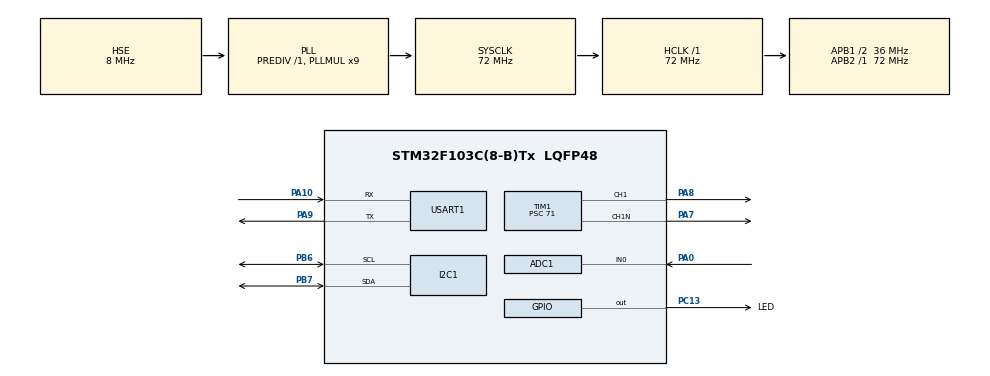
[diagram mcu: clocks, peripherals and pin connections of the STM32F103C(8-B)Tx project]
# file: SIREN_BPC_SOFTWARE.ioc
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ADC1.Channel-0\#ChannelRegularConversion=ADC_CHANNEL_0
ADC1.NbrOfConversionFlag=1
ADC1.Rank-0\#ChannelRegularConversion=1
ADC1.SamplingTime-0\#ChannelRegularConversion=ADC_SAMPLETIME_239CYCLES_5
ADC1.master=1
Mcu.Family=STM32F1
Mcu.Name=STM32F103C(8-B)Tx
Mcu.Package=LQFP48
NVIC.PriorityGroup=NVIC_PRIORITYGROUP_4
PA0-WKUP.Signal=ADCx_IN0
PA10.Mode=Asynchronous
PA10.Signal=USART1_RX
PA13.Mode=Serial_Wire
PA13.Signal=SYS_JTMS-SWDIO
PA14.Mode=Serial_Wire
PA14.Signal=SYS_JTCK-SWCLK
PA7.Mode=Output Compare1 CH1 CH1N
PA7.Signal=TIM1_CH1N
PA8.Signal=S_TIM1_CH1
PA9.Mode=Asynchronous
PA9.Signal=USART1_TX
PB6.Mode=I2C
PB6.Signal=I2C1_SCL
PB7.Mode=I2C
PB7.Signal=I2C1_SDA
PC13-TAMPER-RTC.GPIO_Label=LED
PC13-TAMPER-RTC.Signal=GPIO_Output
PD0-OSC_IN.Mode=HSE-External-Oscillator
PD0-OSC_IN.Signal=RCC_OSC_IN
PD1-OSC_OUT.Mode=HSE-External-Oscillator
PD1-OSC_OUT.Signal=RCC_OSC_OUT
ProjectManager.HeapSize=0x200
ProjectManager.StackSize=0x400
ProjectManager.TargetToolchain=STM32CubeIDE
RCC.ADCPresc=RCC_ADCPCLK2_DIV6
RCC.AHBFreq_Value=72000000
RCC.APB1CLKDivider=RCC_HCLK_DIV2
RCC.APB1Freq_Value=36000000
RCC.APB1TimFreq_Value=72000000
RCC.APB2Freq_Value=72000000
RCC.APB2TimFreq_Value=72000000
RCC.HCLKFreq_Value=72000000
RCC.PLLMUL=RCC_PLL_MUL9
RCC.PLLSourceVirtual=RCC_PLLSOURCE_HSE
RCC.SYSCLKFreq_VALUE=72000000
RCC.SYSCLKSource=RCC_SYSCLKSOURCE_PLLCLK
RCC.USBFreq_Value=72000000
SH.ADCx_IN0.0=ADC1_IN0,IN0
SH.S_TIM1_CH1.0=TIM1_CH1,Output Compare1 CH1 CH1N
TIM1.Channel-Output\ Compare1\ CH1\ CH1N=TIM_CHANNEL_1
TIM1.DeadTime=14
TIM1.Period=999
TIM1.Prescaler=71
TIM1.Pulse-Output\ Compare1\ CH1\ CH1N=499
USART1.VirtualMode=VM_ASYNC
VP_TIM1_VS_ClockSourceINT.Mode=Internal
board=custom

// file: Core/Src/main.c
/* USER CODE BEGIN Header */
/**
  ******************************************************************************
  * @file           : main.c
  * @brief          : Main program body
  ******************************************************************************
  * @attention
  *
  * Copyright (c) 2026 STMicroelectronics.
  * All rights reserved.
  *
  * This software is licensed under terms that can be found in the LICENSE file
  * in the root directory of this software component.
  * If no LICENSE file comes with this software, it is provided AS-IS.
  *
  ******************************************************************************
  */
/* USER CODE END Header */
#include "main.h"
#include "adc.h"
#include "i2c.h"
#include "tim.h"
#include "usart.h"
#include "gpio.h"

/* USER CODE BEGIN Includes */
#include <math.h>
#include <string.h>
#include <stdio.h>
#include <stdlib.h>
/* USER CODE END Includes */

/* USER CODE BEGIN PTD */
typedef enum {
    STATE_IDLE    = 0,
    STATE_HEATING = 1,
    STATE_FAULT   = 2
} SystemState_t;

/* USER CODE END PTD */

/* USER CODE BEGIN PD */
#define TEMP_START_HEATING_C    (-10.0f)
#define TEMP_STOP_HEATING_C     (0.0f)
#define TEMP_FAULT_C            (45.0f)
#define CURRENT_FAULT_MA        (2000.0f)
#define VOLTAGE_CUTOFF_MV       (3000.0f)
#define NTC_R_FIXED             (10000.0f)
#define NTC_R25                 (10000.0f)
#define NTC_B                   (3900.0f)
#define NTC_T25_K               (298.15f)
#define ADC_VREF                (3.3f)
#define ADC_RESOLUTION          (4095.0f)
#define INA219_ADDR             (0x40 << 1)
#define INA219_REG_CONFIG       (0x00)
#define INA219_REG_SHUNT_V      (0x01)
#define INA219_REG_BUS_V        (0x02)
#define INA219_REG_CURRENT      (0x04)
#define INA219_REG_CALIBRATION  (0x05)
#define INA219_CONFIG_VALUE     (0x399F)
#define INA219_CAL_VALUE        (4096)
#define INA219_CURRENT_LSB_MA   (0.1f)
#define MONITOR_INTERVAL_MS     (1000)
/* USER CODE END PD */

/* USER CODE BEGIN PV */
SystemState_t g_state         = STATE_IDLE;
float         g_temperature_c = 0.0f;
float         g_current_ma    = 0.0f;
float         g_voltage_mv    = 0.0f;
uint32_t      g_last_monitor  = 0;
char          g_tx_buf[128];
/* USER CODE END PV */

void SystemClock_Config(void);
/* USER CODE BEGIN PFP */
void BPC_Start(void);
void BPC_Stop(void);
HAL_StatusTypeDef INA219_Init(void);
HAL_StatusTypeDef INA219_WriteReg(uint8_t reg, uint16_t value);
HAL_StatusTypeDef INA219_ReadReg(uint8_t reg, uint16_t *value);
float INA219_ReadCurrent_mA(void);
float INA219_ReadBusVoltage_mV(void);
float ADC_ReadTemperature_C(void);
void StateMachine_Update(void);
void Data_Transmit(void);
/* USER CODE END PFP */

/* USER CODE BEGIN 0 */
void BPC_Start(void)
{
    HAL_TIM_PWM_Start(&htim1, TIM_CHANNEL_1);
    HAL_TIMEx_PWMN_Start(&htim1, TIM_CHANNEL_1);
}

void BPC_Stop(void)
{
    HAL_TIM_PWM_Stop(&htim1, TIM_CHANNEL_1);
    HAL_TIMEx_PWMN_Stop(&htim1, TIM_CHANNEL_1);
}

HAL_StatusTypeDef INA219_WriteReg(uint8_t reg, uint16_t value)
{
    uint8_t buf[3];
    buf[0] = reg;
    buf[1] = (value >> 8) & 0xFF;
    buf[2] =  value       & 0xFF;
    return HAL_I2C_Master_Transmit(&hi2c1, INA219_ADDR, buf, 3, 100);
}

HAL_StatusTypeDef INA219_ReadReg(uint8_t reg, uint16_t *value)
{
    uint8_t buf[2];
    HAL_StatusTypeDef ret;
    ret = HAL_I2C_Master_Transmit(&hi2c1, INA219_ADDR, &reg, 1, 100);
    if (ret != HAL_OK) return ret;
    ret = HAL_I2C_Master_Receive(&hi2c1, INA219_ADDR, buf, 2, 100);
    if (ret != HAL_OK) return ret;
    *value = ((uint16_t)buf[0] << 8) | buf[1];
    return HAL_OK;
}

HAL_StatusTypeDef INA219_Init(void)
{
    HAL_StatusTypeDef ret;
    ret = INA219_WriteReg(INA219_REG_CALIBRATION, INA219_CAL_VALUE);
    if (ret != HAL_OK) return ret;
    return INA219_WriteReg(INA219_REG_CONFIG, INA219_CONFIG_VALUE);
}

float INA219_ReadCurrent_mA(void)
{
    uint16_t raw = 0;
    if (INA219_ReadReg(INA219_REG_CURRENT, &raw) != HAL_OK) return 0.0f;
    return (float)((int16_t)raw) * INA219_CURRENT_LSB_MA;
}

float INA219_ReadBusVoltage_mV(void)
{
    uint16_t raw = 0;
    if (INA219_ReadReg(INA219_REG_BUS_V, &raw) != HAL_OK) return 0.0f;
    return (float)(raw >> 3) * 4.0f;
}

float ADC_ReadTemperature_C(void)
{
    HAL_ADC_Start(&hadc1);
    HAL_ADC_PollForConversion(&hadc1, 10);
    uint32_t raw = HAL_ADC_GetValue(&hadc1);
    HAL_ADC_Stop(&hadc1);
    float vadc = ((float)raw / ADC_RESOLUTION) * ADC_VREF;
    if (vadc <= 0.01f || vadc >= (ADC_VREF - 0.01f)) return -99.0f;
    float r_ntc = NTC_R_FIXED * vadc / (ADC_VREF - vadc);
    float inv_T = (1.0f / NTC_T25_K) + (1.0f / NTC_B) * logf(r_ntc / NTC_R25);
    return (1.0f / inv_T) - 273.15f;
}

void StateMachine_Update(void)
{
    switch (g_state)
    {
        case STATE_IDLE:
            if (g_temperature_c < TEMP_START_HEATING_C &&
                g_voltage_mv    > VOLTAGE_CUTOFF_MV)
            {
                BPC_Start();
                g_state = STATE_HEATING;
                HAL_GPIO_WritePin(LED_GPIO_Port, LED_Pin, GPIO_PIN_RESET);
            }
            break;

        case STATE_HEATING:
            if (g_temperature_c >= TEMP_STOP_HEATING_C) {
                BPC_Stop();
                g_state = STATE_IDLE;
                HAL_GPIO_WritePin(LED_GPIO_Port, LED_Pin, GPIO_PIN_SET);
            }
            else if (g_current_ma > CURRENT_FAULT_MA) {
                BPC_Stop();
                g_state = STATE_FAULT;
                HAL_UART_Transmit(&huart1, (uint8_t*)"FAULT:OVERCURRENT\r\n", 19, 100);
            }
            else if (g_temperature_c > TEMP_FAULT_C) {
                BPC_Stop();
                g_state = STATE_FAULT;
                HAL_UART_Transmit(&huart1, (uint8_t*)"FAULT:OVERTEMP\r\n", 16, 100);
            }
            else if (g_voltage_mv < VOLTAGE_CUTOFF_MV) {
                BPC_Stop();
                g_state = STATE_IDLE;
                HAL_UART_Transmit(&huart1, (uint8_t*)"INFO:UNDERVOLTAGE\r\n", 19, 100);
            }
            break;

        case STATE_FAULT:
            BPC_Stop();
            HAL_GPIO_TogglePin(LED_GPIO_Port, LED_Pin);
            break;

        default:
            g_state = STATE_FAULT;
            break;
    }
}

void Data_Transmit(void)
{
    const char *state_str;
    switch (g_state) {
        case STATE_IDLE:    state_str = "IDLE";    break;
        case STATE_HEATING: state_str = "HEATING"; break;
        case STATE_FAULT:   state_str = "FAULT";   break;
        default:            state_str = "UNKNOWN"; break;
    }

    int temp_int  = (int)(g_temperature_c * 10);
    int curr_int  = (int)(g_current_ma * 10);
    int volt_int  = (int)(g_voltage_mv * 10);

    int len = snprintf(g_tx_buf, sizeof(g_tx_buf),
        "%s,%d.%d,%d.%d,%d.%d\r\n",
        state_str,
        temp_int / 10, abs(temp_int % 10),
        curr_int / 10, abs(curr_int % 10),
        volt_int / 10, abs(volt_int % 10));
    HAL_UART_Transmit(&huart1, (uint8_t*)g_tx_buf, (uint16_t)len, 200);
}
/* USER CODE END 0 */

int main(void)
{

  /* MCU Configuration--------------------------------------------------------*/

  /* Reset of all peripherals, Initializes the Flash interface and the Systick. */
  HAL_Init();

  /* Configure the system clock */
  SystemClock_Config();

  /* Initialize all configured peripherals */
  MX_GPIO_Init();
  MX_ADC1_Init();
  MX_I2C1_Init();
  MX_TIM1_Init();
  MX_USART1_UART_Init();
  /* USER CODE BEGIN 2 */
  BPC_Stop();
  if (INA219_Init() != HAL_OK) {
      g_state = STATE_FAULT;
  }
  HAL_UART_Transmit(&huart1, (uint8_t*)"SIREN BPC Ready\r\n", 17, 100);
  g_last_monitor = HAL_GetTick();
  /* USER CODE END 2 */

  /* Infinite loop */
  /* USER CODE BEGIN WHILE */
  while (1)
  {
      uint32_t now = HAL_GetTick();
      if ((now - g_last_monitor) >= MONITOR_INTERVAL_MS)
      {
          g_last_monitor    = now;
          g_temperature_c   = ADC_ReadTemperature_C();
          g_current_ma      = INA219_ReadCurrent_mA();
          g_voltage_mv      = INA219_ReadBusVoltage_mV();
          StateMachine_Update();
          Data_Transmit();
      }
    /* USER CODE END WHILE */

  }
}

void SystemClock_Config(void)
{
  RCC_OscInitTypeDef RCC_OscInitStruct = {0};
  RCC_ClkInitTypeDef RCC_ClkInitStruct = {0};
  RCC_PeriphCLKInitTypeDef PeriphClkInit = {0};

  /** Initializes the RCC Oscillators according to the specified parameters
  * in the RCC_OscInitTypeDef structure.
  */
  RCC_OscInitStruct.OscillatorType = RCC_OSCILLATORTYPE_HSE;
  RCC_OscInitStruct.HSEState = RCC_HSE_ON;
  RCC_OscInitStruct.HSEPredivValue = RCC_HSE_PREDIV_DIV1;
  RCC_OscInitStruct.HSIState = RCC_HSI_ON;
  RCC_OscInitStruct.PLL.PLLState = RCC_PLL_ON;
  RCC_OscInitStruct.PLL.PLLSource = RCC_PLLSOURCE_HSE;
  RCC_OscInitStruct.PLL.PLLMUL = RCC_PLL_MUL9;
  if (HAL_RCC_OscConfig(&RCC_OscInitStruct) != HAL_OK)
  {
    Error_Handler();
  }

  /** Initializes the CPU, AHB and APB buses clocks
  */
  RCC_ClkInitStruct.ClockType = RCC_CLOCKTYPE_HCLK|RCC_CLOCKTYPE_SYSCLK
                              |RCC_CLOCKTYPE_PCLK1|RCC_CLOCKTYPE_PCLK2;
  RCC_ClkInitStruct.SYSCLKSource = RCC_SYSCLKSOURCE_PLLCLK;
  RCC_ClkInitStruct.AHBCLKDivider = RCC_SYSCLK_DIV1;
  RCC_ClkInitStruct.APB1CLKDivider = RCC_HCLK_DIV2;
  RCC_ClkInitStruct.APB2CLKDivider = RCC_HCLK_DIV1;

  if (HAL_RCC_ClockConfig(&RCC_ClkInitStruct, FLASH_LATENCY_2) != HAL_OK)
  {
    Error_Handler();
  }
  PeriphClkInit.PeriphClockSelection = RCC_PERIPHCLK_ADC;
  PeriphClkInit.AdcClockSelection = RCC_ADCPCLK2_DIV6;
  if (HAL_RCCEx_PeriphCLKConfig(&PeriphClkInit) != HAL_OK)
  {
    Error_Handler();
  }
}

void Error_Handler(void)
{
  __disable_irq();
  while (1)
  {
  }
}
